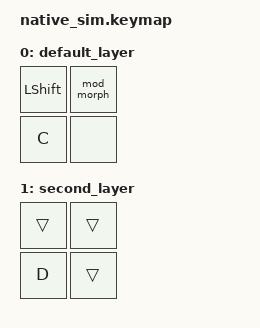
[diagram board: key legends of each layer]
#include <dt-bindings/zmk/keys.h>
#include <behaviors.dtsi>
#include <dt-bindings/zmk/input_mock.h>

&mock_input {
    events = <
        /* Shift + tap &mod_morph --> expect B (but get Shift + B) */
        ZMK_INPUT_MOCK_PRESS(0,0,10)
        ZMK_INPUT_MOCK_PRESS(0,1,10)
        ZMK_INPUT_MOCK_RELEASE(0,1,10)
        ZMK_INPUT_MOCK_RELEASE(0,0,10)
    >;
};

/ {
    behaviors {
        mod_morph: mod_morph {
            compatible = "zmk,behavior-mod-morph";
            #binding-cells = <0>;
            bindings = <&kp A>, <&lt 1 B>;
            mods = <(MOD_LSFT|MOD_RSFT)>;
        };

    };

    keymap {
        compatible = "zmk,keymap";

        default_layer {
            bindings = <
                &kp LEFT_SHIFT &mod_morph
                &kp C &none
            >;
        };

        second_layer {
            bindings = <
                &trans &trans
                &kp D &trans
            >;
        };
    };
};
